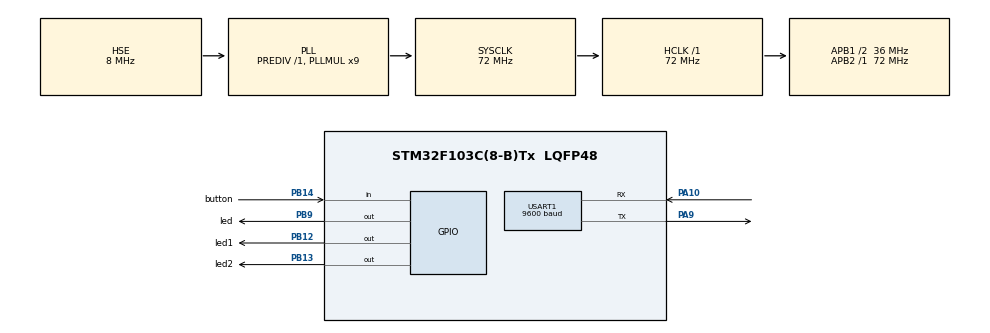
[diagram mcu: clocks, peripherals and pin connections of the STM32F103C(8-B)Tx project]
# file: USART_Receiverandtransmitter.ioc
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Mcu.Family=STM32F1
Mcu.Name=STM32F103C(8-B)Tx
Mcu.Package=LQFP48
NVIC.PriorityGroup=NVIC_PRIORITYGROUP_4
NVIC.USART1_IRQn=true\:1\:0\:true\:false\:true\:true\:true
PA10.Mode=Asynchronous
PA10.Signal=USART1_RX
PA13.Mode=Serial_Wire
PA13.Signal=SYS_JTMS-SWDIO
PA14.Mode=Serial_Wire
PA14.Signal=SYS_JTCK-SWCLK
PA9.Mode=Asynchronous
PA9.Signal=USART1_TX
PB12.GPIO_Label=led1
PB12.Signal=GPIO_Output
PB13.GPIO_Label=led2
PB13.Signal=GPIO_Output
PB14.GPIO_Label=button
PB14.Signal=GPIO_Input
PB9.GPIO_Label=led
PB9.Signal=GPIO_Output
PD0-OSC_IN.Mode=HSE-External-Oscillator
PD0-OSC_IN.Signal=RCC_OSC_IN
PD1-OSC_OUT.Mode=HSE-External-Oscillator
PD1-OSC_OUT.Signal=RCC_OSC_OUT
ProjectManager.HeapSize=0x200
ProjectManager.StackSize=0x400
ProjectManager.TargetToolchain=MDK-ARM V5.32
RCC.AHBFreq_Value=72000000
RCC.APB1CLKDivider=RCC_HCLK_DIV2
RCC.APB1Freq_Value=36000000
RCC.APB1TimFreq_Value=72000000
RCC.APB2Freq_Value=72000000
RCC.APB2TimFreq_Value=72000000
RCC.HCLKFreq_Value=72000000
RCC.PLLMUL=RCC_PLL_MUL9
RCC.PLLSourceVirtual=RCC_PLLSOURCE_HSE
RCC.SYSCLKFreq_VALUE=72000000
RCC.SYSCLKSource=RCC_SYSCLKSOURCE_PLLCLK
RCC.USBFreq_Value=72000000
USART1.BaudRate=9600
USART1.Parity=PARITY_NONE
USART1.StopBits=STOPBITS_1
USART1.VirtualMode=VM_ASYNC
USART1.WordLength=WORDLENGTH_8B
board=custom

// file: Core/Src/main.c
/* USER CODE BEGIN Header */
/**
  ******************************************************************************
  * @file           : main.c
  * @brief          : Main program body
  ******************************************************************************
  * @attention
  *
  * <h2><center>&copy; Copyright (c) 2021 STMicroelectronics.
  * All rights reserved.</center></h2>
  *
  * This software component is licensed by ST under BSD 3-Clause license,
  * the "License"; You may not use this file except in compliance with the
  * License. You may obtain a copy of the License at:
  *                        opensource.org/licenses/BSD-3-Clause
  *
  ******************************************************************************
  */
/* USER CODE END Header */
#include "main.h"

/* USER CODE BEGIN Includes */
#include "string.h"
#include "stdio.h"
/* USER CODE END Includes */

/* USER CODE BEGIN PD */

uint8_t gr[]="";

/* USER CODE END PD */

UART_HandleTypeDef huart1;

void SystemClock_Config(void);
static void MX_GPIO_Init(void);
static void MX_USART1_UART_Init(void);

/* USER CODE BEGIN 0 */

	void HAL_USART_RxCpltCallback(UART_HandleTypeDef *huart1)
{
HAL_UART_Receive_IT(huart1,gr,1);
}

/* USER CODE END 0 */

int main(void)
{
  /* USER CODE BEGIN 1 */
	uint8_t MSG1[] = "!!!!!!Button State; Released!!!!!!\r\n";
	uint8_t MSG2[] = "!!!!!!!!!!1!!Button State; Pressed!!!!!!!!!!!\r\n";
  /* USER CODE END 1 */

  /* MCU Configuration--------------------------------------------------------*/

  /* Reset of all peripherals, Initializes the Flash interface and the Systick. */
  HAL_Init();

  /* Configure the system clock */
  SystemClock_Config();

  /* Initialize all configured peripherals */
  MX_GPIO_Init();
  MX_USART1_UART_Init();
  /* USER CODE BEGIN 2 */

UART_Start_Receive_IT(&huart1, gr, 1);

HAL_UART_Receive_IT(&huart1,gr,1);
  /* USER CODE END 2 */

  /* Infinite loop */
  while (1)
  {

    /* USER CODE BEGIN 3 */
//		if(HAL_GPIO_ReadPin (GPIOB, GPIO_PIN_14))
//    {
//      HAL_UART_Transmit(&huart1, MSG2, sizeof(MSG2), 1000);
//		}
//
//    else
//    {
//      HAL_UART_Transmit(&huart1, MSG1, sizeof(MSG1), 1000);

//    }
		 if(gr[0] == '1')
    {
      HAL_GPIO_TogglePin(GPIOB, GPIO_PIN_12);
			HAL_UART_Receive_IT(&huart1, gr,4);
    }

    if(gr[0] == '2')
    {
      HAL_GPIO_WritePin(GPIOB, GPIO_PIN_13,GPIO_PIN_SET);
      HAL_UART_Receive_IT(&huart1, gr,4);
    }

  }
  /* USER CODE END 3 */
}

void SystemClock_Config(void)
{
  RCC_OscInitTypeDef RCC_OscInitStruct = {0};
  RCC_ClkInitTypeDef RCC_ClkInitStruct = {0};

  /** Initializes the RCC Oscillators according to the specified parameters
  * in the RCC_OscInitTypeDef structure.
  */
  RCC_OscInitStruct.OscillatorType = RCC_OSCILLATORTYPE_HSE;
  RCC_OscInitStruct.HSEState = RCC_HSE_ON;
  RCC_OscInitStruct.HSEPredivValue = RCC_HSE_PREDIV_DIV1;
  RCC_OscInitStruct.HSIState = RCC_HSI_ON;
  RCC_OscInitStruct.PLL.PLLState = RCC_PLL_ON;
  RCC_OscInitStruct.PLL.PLLSource = RCC_PLLSOURCE_HSE;
  RCC_OscInitStruct.PLL.PLLMUL = RCC_PLL_MUL9;
  if (HAL_RCC_OscConfig(&RCC_OscInitStruct) != HAL_OK)
  {
    Error_Handler();
  }
  /** Initializes the CPU, AHB and APB buses clocks
  */
  RCC_ClkInitStruct.ClockType = RCC_CLOCKTYPE_HCLK|RCC_CLOCKTYPE_SYSCLK
                              |RCC_CLOCKTYPE_PCLK1|RCC_CLOCKTYPE_PCLK2;
  RCC_ClkInitStruct.SYSCLKSource = RCC_SYSCLKSOURCE_PLLCLK;
  RCC_ClkInitStruct.AHBCLKDivider = RCC_SYSCLK_DIV1;
  RCC_ClkInitStruct.APB1CLKDivider = RCC_HCLK_DIV2;
  RCC_ClkInitStruct.APB2CLKDivider = RCC_HCLK_DIV1;

  if (HAL_RCC_ClockConfig(&RCC_ClkInitStruct, FLASH_LATENCY_2) != HAL_OK)
  {
    Error_Handler();
  }
}

static void MX_USART1_UART_Init(void)
{

  huart1.Instance = USART1;
  huart1.Init.BaudRate = 9600;
  huart1.Init.WordLength = UART_WORDLENGTH_8B;
  huart1.Init.StopBits = UART_STOPBITS_1;
  huart1.Init.Parity = UART_PARITY_NONE;
  huart1.Init.Mode = UART_MODE_TX_RX;
  huart1.Init.HwFlowCtl = UART_HWCONTROL_NONE;
  huart1.Init.OverSampling = UART_OVERSAMPLING_16;
  if (HAL_UART_Init(&huart1) != HAL_OK)
  {
    Error_Handler();
  }

}

static void MX_GPIO_Init(void)
{
  GPIO_InitTypeDef GPIO_InitStruct = {0};

  /* GPIO Ports Clock Enable */
  __HAL_RCC_GPIOD_CLK_ENABLE();
  __HAL_RCC_GPIOB_CLK_ENABLE();
  __HAL_RCC_GPIOA_CLK_ENABLE();

  /*Configure GPIO pin Output Level */
  HAL_GPIO_WritePin(GPIOB, led1_Pin|led2_Pin|led_Pin, GPIO_PIN_RESET);

  /*Configure GPIO pins : led1_Pin led2_Pin led_Pin */
  GPIO_InitStruct.Pin = led1_Pin|led2_Pin|led_Pin;
  GPIO_InitStruct.Mode = GPIO_MODE_OUTPUT_PP;
  GPIO_InitStruct.Pull = GPIO_NOPULL;
  GPIO_InitStruct.Speed = GPIO_SPEED_FREQ_LOW;
  HAL_GPIO_Init(GPIOB, &GPIO_InitStruct);

  /*Configure GPIO pin : button_Pin */
  GPIO_InitStruct.Pin = button_Pin;
  GPIO_InitStruct.Mode = GPIO_MODE_INPUT;
  GPIO_InitStruct.Pull = GPIO_NOPULL;
  HAL_GPIO_Init(button_GPIO_Port, &GPIO_InitStruct);

}

void Error_Handler(void)
{
  __disable_irq();
  while (1)
  {
  }
}

/************************ (C) COPYRIGHT STMicroelectronics *****END OF FILE****/
